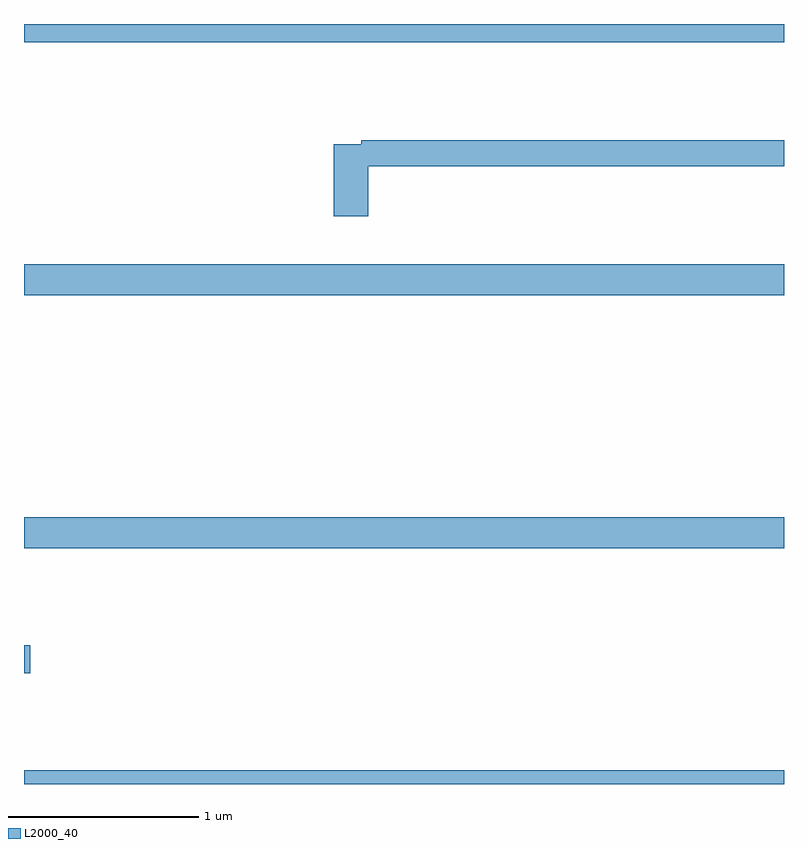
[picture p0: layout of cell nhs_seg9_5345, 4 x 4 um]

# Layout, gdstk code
import gdstk
lib = gdstk.Library(unit=1e-6, precision=1e-09)
def R(c, l, rs):  # rectangles x0, y0, x1, y1
    for r in rs: c.add(gdstk.rectangle(r[:2], r[2:], *l))
def P(c, l, *ps):  # polygons
    for p in ps: c.add(gdstk.Polygon(p, *l))
L2000_40 = (2000, 40)

nhs_seg9_5345 = lib.new_cell('nhs_seg9_5345')
R(nhs_seg9_5345, L2000_40, [(421,1208.5,425,1208.572), (421,1209.083,421.033,1209.23), (421,1209.74,425,1209.904), (421,1211.072,425,1211.236), (421,1212.404,425,1212.5)])
P(nhs_seg9_5345, L2000_40, [(422.813,1211.752),(425,1211.752),(425,1211.888),(422.776,1211.888),(422.776,1211.868),(422.63,1211.868),(422.63,1211.487),(422.813,1211.487)])

lib.write_gds('nhs_seg9_5345.gds')
